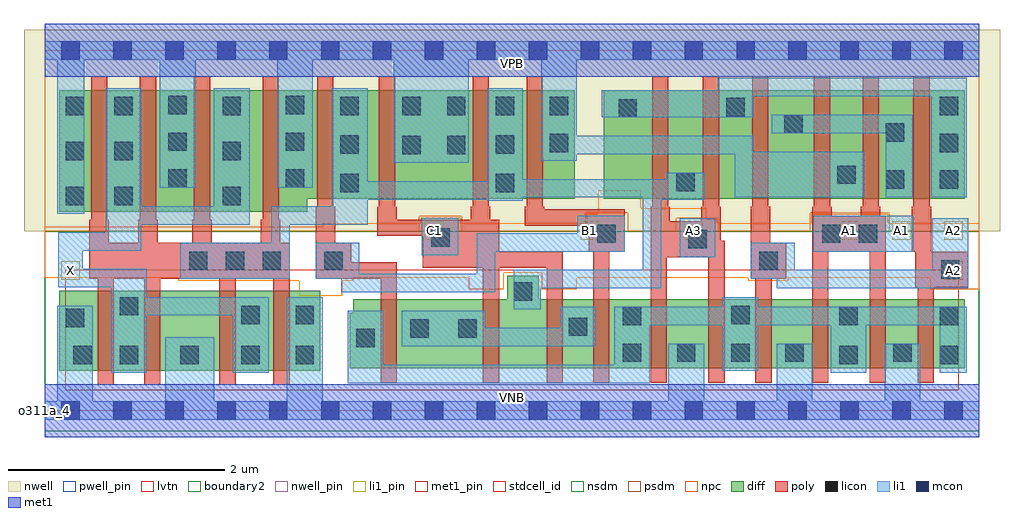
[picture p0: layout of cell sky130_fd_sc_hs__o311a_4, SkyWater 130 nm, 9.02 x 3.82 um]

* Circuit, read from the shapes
.subckt sky130_fd_sc_hs__o311a_4 A1 A2 A3 B1 C1 VGND VNB VPB VPWR X
XM1 X n1 VGND VNB sky130_fd_pr__nfet_01v8_lvt w=0.74 l=0.15 m=4
XM2 n2 B1 n3 VNB sky130_fd_pr__nfet_01v8_lvt w=0.64 l=0.15 m=2
XM3 n1 C1 n2 VNB sky130_fd_pr__nfet_01v8_lvt w=0.64 l=0.15 m=2
XM4 VGND A3 n3 VNB sky130_fd_pr__nfet_01v8_lvt w=0.64 l=0.15 m=2
XM5 VGND A2 n3 VNB sky130_fd_pr__nfet_01v8_lvt w=0.64 l=0.15 m=2
XM6 n3 A1 VGND VNB sky130_fd_pr__nfet_01v8_lvt w=0.64 l=0.15 m=2
XM7 X n1 VPWR VPB sky130_fd_pr__pfet_01v8 w=1.12 l=0.15 m=4
XM8 n1 B1 VPWR VPB sky130_fd_pr__pfet_01v8 w=1 l=0.15 m=2
XM9 VPWR C1 n1 VPB sky130_fd_pr__pfet_01v8 w=1 l=0.15 m=2
XM10 n1 A3 n4 VPB sky130_fd_pr__pfet_01v8 w=1 l=0.15 m=2
XM11 n5 A2 n4 VPB sky130_fd_pr__pfet_01v8 w=1 l=0.15 m=2
XM12 VPWR A1 n5 VPB sky130_fd_pr__pfet_01v8 w=1 l=0.15 m=2
.ends

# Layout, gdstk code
import gdstk
lib = gdstk.Library(unit=1e-6, precision=1e-09)
def R(c, l, rs):  # rectangles x0, y0, x1, y1
    for r in rs: c.add(gdstk.rectangle(r[:2], r[2:], *l))
def A(c, l, x, y, w, h, nx, ny, dx, dy):  # array of equal rectangles
    R(c, l, [(x+i*dx, y+j*dy, x+i*dx+w, y+j*dy+h) for i in range(nx) for j in range(ny)])
def P(c, l, *ps):  # polygons
    for p in ps: c.add(gdstk.Polygon(p, *l))
nwell_pin = (64, 16)
nwell = (64, 20)
diff = (65, 20)
poly = (66, 20)
licon = (66, 44)
li1_pin = (67, 16)
li1 = (67, 20)
mcon = (67, 44)
met1_pin = (68, 16)
met1 = (68, 20)
stdcell_id = (81, 4)
nsdm = (93, 44)
psdm = (94, 20)
npc = (95, 20)
pwell_pin = (122, 16)
lvtn = (125, 44)
boundary2 = (236, 0)

sky130_fd_sc_hs__o311a_4 = lib.new_cell('sky130_fd_sc_hs__o311a_4')
R(sky130_fd_sc_hs__o311a_4, nwell_pin, [(0,3.085,8.64,3.33)])
R(sky130_fd_sc_hs__o311a_4, nwell, [(-0.19,1.66,8.83,3.52)])
R(sky130_fd_sc_hs__o311a_4, diff, [(0.135,0.37,2.55,1.11), (5.17,1.96,8.505,2.96)])
P(sky130_fd_sc_hs__o311a_4, diff, [(4.9,2.96),(0.135,2.96),(0.135,1.84),(2.43,1.84),(2.43,1.96),(4.9,1.96)],
  [(8.505,1.03),(4.565,1.03),(4.565,1.245),(4.275,1.245),(4.275,1.03),(2.855,1.03),(2.855,0.905),(2.82,0.905),(2.82,0.39),(8.505,0.39)])
P(sky130_fd_sc_hs__o311a_4, poly, [(8.535,1.47),(8.195,1.47),(8.195,1.885),(8.18,1.885),(8.18,3.09),(8.03,3.09),(8.03,1.885),(8.015,1.885),(8.015,1.47),(8.045,1.47),(8.045,1.14),(8.07,1.14),(8.07,0.26),(8.22,0.26),(8.22,1.14),(8.535,1.14)],
  [(7.775,1.8),(7.725,1.8),(7.725,1.885),(7.71,1.885),(7.71,3.09),(7.56,3.09),(7.56,1.885),(7.545,1.885),(7.545,1.8),(7.275,1.8),(7.275,1.885),(7.26,1.885),(7.26,3.09),(7.11,3.09),(7.11,1.885),(7.095,1.885),(7.095,0.26),(7.245,0.26),(7.245,1.47),(7.625,1.47),(7.625,0.26),(7.775,0.26)],
  [(6.855,1.55),(6.705,1.55),(6.705,1.885),(6.69,1.885),(6.69,3.09),(6.54,3.09),(6.54,1.885),(6.525,1.885),(6.525,1.22),(6.57,1.22),(6.57,0.26),(6.72,0.26),(6.72,1.22),(6.855,1.22)],
  [(6.285,1.57),(6.25,1.57),(6.25,1.885),(6.235,1.885),(6.235,3.09),(6.085,3.09),(6.085,1.885),(6.07,1.885),(6.07,1.75),(5.78,1.75),(5.78,1.885),(5.765,1.885),(5.765,3.09),(5.615,3.09),(5.615,1.885),(5.6,1.885),(5.6,0.26),(5.75,0.26),(5.75,1.42),(6.135,1.42),(6.135,0.26),(6.285,0.26)],
  [(5.36,1.86),(4.62,1.86),(4.62,1.885),(4.605,1.885),(4.605,3.09),(4.455,3.09),(4.455,1.885),(4.44,1.885),(4.44,1.71),(5.03,1.71),(5.03,1.47),(5.07,1.47),(5.07,0.26),(5.22,0.26),(5.22,1.47),(5.36,1.47)],
  [(4.79,1.47),(4.2,1.47),(4.2,1.765),(4.12,1.765),(4.12,1.885),(4.105,1.885),(4.105,3.09),(3.955,3.09),(3.955,1.885),(3.94,1.885),(3.94,1.765),(3.255,1.765),(3.255,1.885),(3.24,1.885),(3.24,3.09),(3.09,3.09),(3.09,1.885),(3.075,1.885),(3.075,1.615),(3.495,1.615),(3.495,1.32),(4.05,1.32),(4.05,0.26),(4.2,0.26),(4.2,1.32),(4.64,1.32),(4.64,0.26),(4.79,0.26)],
  [(3.255,1.37),(2.835,1.37),(2.835,1.55),(2.685,1.55),(2.685,1.885),(2.67,1.885),(2.67,3.09),(2.52,3.09),(2.52,1.885),(2.505,1.885),(2.505,1.22),(3.105,1.22),(3.105,0.26),(3.255,0.26)],
  [(2.265,1.55),(2.18,1.55),(2.18,1.765),(2.165,1.765),(2.165,3.09),(2.015,3.09),(2.015,1.765),(2,1.765),(2,1.55),(1.545,1.55),(1.545,1.765),(1.53,1.765),(1.53,3.09),(1.38,3.09),(1.38,1.765),(1.365,1.765),(1.365,1.55),(1.045,1.55),(1.045,1.765),(1.03,1.765),(1.03,3.09),(0.88,3.09),(0.88,1.765),(0.865,1.765),(0.865,1.55),(0.595,1.55),(0.595,1.765),(0.58,1.765),(0.58,3.09),(0.43,3.09),(0.43,1.765),(0.415,1.765),(0.415,1.22),(0.49,1.22),(0.49,0.24),(0.64,0.24),(0.64,1.22),(0.92,1.22),(0.92,0.24),(1.07,0.24),(1.07,1.22),(1.615,1.22),(1.615,0.24),(1.765,0.24),(1.765,1.22),(2.115,1.22),(2.115,0.24),(2.265,0.24)])
A(sky130_fd_sc_hs__o311a_4, licon, 5.345, 0.45, 0.17, 0.17, 4, 1, 0.5, 0)
A(sky130_fd_sc_hs__o311a_4, licon, 1.335, 1.3, 0.17, 0.17, 3, 1, 0.34, 0)
A(sky130_fd_sc_hs__o311a_4, licon, 0.195, 1.9, 0.17, 0.17, 1, 3, 0, 0.415)
A(sky130_fd_sc_hs__o311a_4, licon, 0.645, 1.9, 0.17, 0.17, 1, 3, 0, 0.415)
A(sky130_fd_sc_hs__o311a_4, licon, 1.645, 1.9, 0.17, 0.17, 1, 3, 0, 0.415)
A(sky130_fd_sc_hs__o311a_4, licon, 2.735, 2.02, 0.17, 0.17, 1, 3, 0, 0.355)
A(sky130_fd_sc_hs__o311a_4, licon, 4.17, 2.02, 0.17, 0.17, 1, 3, 0, 0.355)
A(sky130_fd_sc_hs__o311a_4, licon, 8.275, 2.05, 0.17, 0.17, 1, 3, 0, 0.34)
A(sky130_fd_sc_hs__o311a_4, licon, 1.145, 2.06, 0.17, 0.17, 1, 3, 0, 0.34)
A(sky130_fd_sc_hs__o311a_4, licon, 2.23, 2.06, 0.17, 0.17, 1, 3, 0, 0.34)
R(sky130_fd_sc_hs__o311a_4, licon, [(0.265,0.43,0.435,0.6), (0.695,0.43,0.865,0.6), (1.255,0.43,1.425,0.6), (1.82,0.43,1.99,0.6), (2.32,0.43,2.49,0.6), (7.345,0.43,7.515,0.6), (8.275,0.43,8.445,0.6), (7.845,0.45,8.015,0.62), (2.88,0.585,3.05,0.755), (3.38,0.675,3.55,0.845), (3.825,0.675,3.995,0.845), (4.845,0.69,5.015,0.86), (0.195,0.77,0.365,0.94), (5.345,0.79,5.515,0.96), (7.345,0.79,7.515,0.96), (8.275,0.79,8.445,0.96), (1.82,0.8,1.99,0.97), (2.32,0.8,2.49,0.97), (6.345,0.8,6.515,0.97), (0.695,0.88,0.865,1.05), (4.335,1.015,4.505,1.185), (8.285,1.22,8.455,1.39), (2.585,1.3,2.755,1.47), (6.605,1.3,6.775,1.47), (5.95,1.5,6.12,1.67), (3.575,1.515,3.745,1.685), (5.11,1.55,5.28,1.72), (7.185,1.55,7.355,1.72), (7.525,1.55,7.695,1.72), (5.84,2.03,6.01,2.2), (7.775,2.05,7.945,2.22), (7.325,2.095,7.495,2.265), (3.305,2.37,3.475,2.54), (3.72,2.37,3.89,2.54), (4.67,2.39,4.84,2.56), (7.775,2.485,7.945,2.655), (6.835,2.565,7.005,2.735), (5.305,2.71,5.475,2.88), (6.3,2.72,6.47,2.89), (3.305,2.73,3.475,2.9), (3.72,2.73,3.89,2.9), (4.67,2.73,4.84,2.9)])
A(sky130_fd_sc_hs__o311a_4, li1_pin, 7.355, 1.58, 0.17, 0.17, 3, 1, 0.48, 0)
R(sky130_fd_sc_hs__o311a_4, li1_pin, [(0.155,1.21,0.325,1.38), (8.315,1.21,8.485,1.38), (3.515,1.58,3.685,1.75), (4.955,1.58,5.125,1.75), (5.915,1.58,6.085,1.75)])
R(sky130_fd_sc_hs__o311a_4, li1, [(5.87,1.42,6.2,1.78), (3.485,1.435,3.825,1.78), (7.105,1.47,8.035,1.8)])
P(sky130_fd_sc_hs__o311a_4, li1, [(4.59,2.31),(4.59,3.245),(3.92,3.245),(3.92,2.29),(3.225,2.29),(3.225,3.245),(2.48,3.245),(2.48,2.06),(2.15,2.06),(2.15,3.245),(1.395,3.245),(1.395,2.06),(1.065,2.06),(1.065,3.245),(0.365,3.245),(0.365,1.82),(0.115,1.82),(0.115,3.245),(0,3.245),(0,3.415),(8.64,3.415),(8.64,3.245),(4.92,3.245),(4.92,2.54),(6.55,2.54),(6.55,2.395),(7.575,2.395),(7.575,1.97),(6.38,1.97),(6.38,2.37),(4.92,2.37),(4.92,2.31)],
  [(7.765,0.085),(7.765,0.62),(8.095,0.62),(8.095,0.085),(8.64,0.085),(8.64,-0.085),(0,-0.085),(0,0.085),(0.115,0.085),(0.115,0.97),(0.445,0.97),(0.445,0.085),(1.115,0.085),(1.115,0.68),(1.57,0.68),(1.57,0.085),(2.24,0.085),(2.24,1.05),(2.57,1.05),(2.57,0.085),(5.765,0.085),(5.765,0.62),(6.095,0.62),(6.095,0.085),(6.765,0.085),(6.765,0.62),(7.095,0.62),(7.095,0.085)],
  [(4.925,1.64),(4.925,1.8),(5.36,1.8),(5.36,1.47),(4.165,1.47),(4.165,1.095),(2.74,1.095),(2.74,1.22),(2.505,1.22),(2.505,1.55),(2.91,1.55),(2.91,1.265),(3.995,1.265),(3.995,1.64)],
  [(8.205,1.3),(8.205,1.78),(8.535,1.78),(8.535,1.13),(6.765,1.13),(6.765,1.22),(6.525,1.22),(6.525,1.55),(6.935,1.55),(6.935,1.3)],
  [(0.615,0.35),(0.615,1.14),(0.125,1.14),(0.125,1.65),(0.565,1.65),(0.565,2.98),(0.895,2.98),(0.895,1.89),(1.565,1.89),(1.565,2.98),(1.895,2.98),(1.895,1.72),(0.895,1.72),(0.895,1.48),(0.355,1.48),(0.355,1.31),(0.945,1.31),(0.945,1.05),(2.07,1.05),(2.07,0.35),(1.74,0.35),(1.74,0.88),(0.945,0.88),(0.945,0.35)],
  [(5.75,2.14),(5.75,2.2),(6.1,2.2),(6.1,1.95),(5.7,1.95),(5.7,1.13),(4.585,1.13),(4.585,0.935),(4.335,0.935),(4.335,1.3),(5.53,1.3),(5.53,1.97),(4.42,1.97),(4.42,1.94),(4.09,1.94),(4.09,1.95),(2.985,1.95),(2.985,1.72),(2.265,1.72),(2.265,1.22),(1.255,1.22),(1.255,1.55),(2.095,1.55),(2.095,1.89),(2.655,1.89),(2.655,2.98),(2.985,2.98),(2.985,2.12),(4.09,2.12),(4.09,2.98),(4.42,2.98),(4.42,2.14)],
  [(7.775,1.97),(7.775,2.565),(6.72,2.565),(6.72,2.735),(8.025,2.735),(8.025,1.97)],
  [(4.765,0.765),(4.765,0.96),(5.095,0.96),(5.095,0.595),(3.3,0.595),(3.3,0.925),(4.075,0.925),(4.075,0.765)],
  [(6.265,0.37),(6.265,0.79),(5.595,0.79),(5.595,0.255),(2.8,0.255),(2.8,0.925),(3.13,0.925),(3.13,0.425),(5.265,0.425),(5.265,0.96),(6.265,0.96),(6.265,1.05),(6.595,1.05),(6.595,0.96),(8.525,0.96),(8.525,0.35),(8.275,0.35),(8.275,0.79),(7.595,0.79),(7.595,0.35),(7.265,0.35),(7.265,0.79),(6.595,0.79),(6.595,0.37)],
  [(6.22,2.96),(6.22,3.075),(8.525,3.075),(8.525,1.97),(8.195,1.97),(8.195,2.905),(6.55,2.905),(6.55,2.71),(5.15,2.71),(5.15,2.96)])
A(sky130_fd_sc_hs__o311a_4, mcon, 0.155, -0.085, 0.17, 0.17, 18, 2, 0.48, 3.33)
R(sky130_fd_sc_hs__o311a_4, met1_pin, [(0,0,8.64,0.245), (0,3.085,8.64,3.33)])
R(sky130_fd_sc_hs__o311a_4, met1, [(0,-0.245,8.64,0.245), (0,3.085,8.64,3.575)])
R(sky130_fd_sc_hs__o311a_4, stdcell_id, [(0,0,8.64,3.33)])
R(sky130_fd_sc_hs__o311a_4, nsdm, [(0,-0.19,8.64,1.66)])
P(sky130_fd_sc_hs__o311a_4, psdm, [(8.64,3.52),(0,3.52),(0,1.66),(3.465,1.66),(3.465,1.795),(3.855,1.795),(3.855,1.66),(5,1.66),(5,1.83),(5.39,1.83),(5.39,1.66),(5.84,1.66),(5.84,1.78),(6.23,1.78),(6.23,1.66),(7.075,1.66),(7.075,1.83),(7.805,1.83),(7.805,1.66),(8.64,1.66)])
P(sky130_fd_sc_hs__o311a_4, npc, [(8.64,1.73),(7.795,1.73),(7.795,1.82),(7.085,1.82),(7.085,1.73),(6.22,1.73),(6.22,1.77),(6.115,1.77),(6.115,1.87),(5.51,1.87),(5.51,2.035),(5.115,2.035),(5.115,1.82),(5.01,1.82),(5.01,1.73),(3.845,1.73),(3.845,1.785),(3.475,1.785),(3.475,1.73),(2.57,1.73),(2.57,1.7),(0,1.7),(0,1.23),(1.235,1.23),(1.235,1.2),(2.355,1.2),(2.355,1.06),(2.75,1.06),(2.75,1.2),(2.855,1.2),(2.855,1.23),(3.92,1.23),(3.92,1.12),(4.245,1.12),(4.245,1.275),(4.595,1.275),(4.595,1.12),(4.92,1.12),(4.92,1.23),(6.505,1.23),(6.505,1.2),(6.875,1.2),(6.875,1.23),(8.185,1.23),(8.185,1.12),(8.64,1.12)])
R(sky130_fd_sc_hs__o311a_4, pwell_pin, [(0,0,8.64,0.245)])
R(sky130_fd_sc_hs__o311a_4, lvtn, [(0.19,0.19,8.45,1.3)])
R(sky130_fd_sc_hs__o311a_4, boundary2, [(0,0,8.64,3.33)])
sky130_fd_sc_hs__o311a_4.add(gdstk.Label('o311a_4', (0,0), layer=83, texttype=44))
sky130_fd_sc_hs__o311a_4.add(gdstk.Label('VNB', (4.32,0.123), layer=64, texttype=59))
sky130_fd_sc_hs__o311a_4.add(gdstk.Label('VPB', (4.32,3.208), layer=64, texttype=5))
sky130_fd_sc_hs__o311a_4.add(gdstk.Label('VPWR', (4.32,3.208), layer=68, texttype=5))
sky130_fd_sc_hs__o311a_4.add(gdstk.Label('VGND', (4.32,0.123), layer=68, texttype=5))
sky130_fd_sc_hs__o311a_4.add(gdstk.Label('C1', (3.6,1.665), layer=67, texttype=5))
sky130_fd_sc_hs__o311a_4.add(gdstk.Label('B1', (5.04,1.665), layer=67, texttype=5))
sky130_fd_sc_hs__o311a_4.add(gdstk.Label('A3', (6,1.665), layer=67, texttype=5))
sky130_fd_sc_hs__o311a_4.add(gdstk.Label('A2', (8.4,1.295), layer=67, texttype=5))
sky130_fd_sc_hs__o311a_4.add(gdstk.Label('A2', (8.4,1.665), layer=67, texttype=5))
sky130_fd_sc_hs__o311a_4.add(gdstk.Label('A1', (7.44,1.665), layer=67, texttype=5))
sky130_fd_sc_hs__o311a_4.add(gdstk.Label('A1', (7.92,1.665), layer=67, texttype=5))
sky130_fd_sc_hs__o311a_4.add(gdstk.Label('X', (0.24,1.295), layer=67, texttype=5))

lib.write_gds('sky130_fd_sc_hs__o311a_4.gds')
